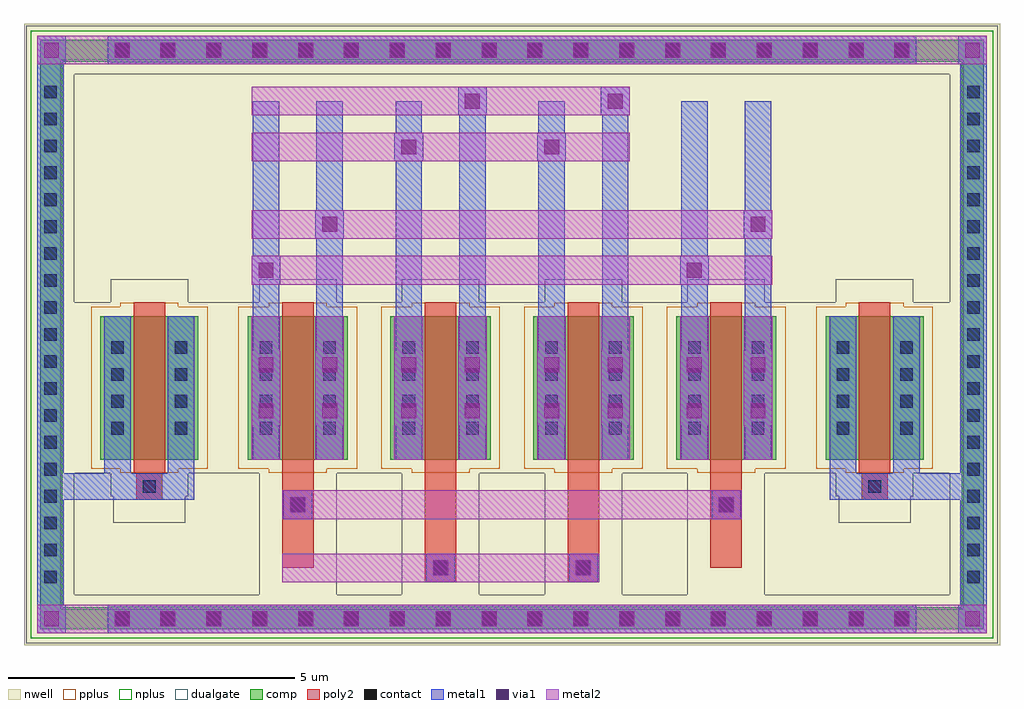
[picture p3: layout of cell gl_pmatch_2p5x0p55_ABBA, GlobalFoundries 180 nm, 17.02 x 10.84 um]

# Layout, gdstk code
import gdstk
lib = gdstk.Library(unit=1e-6, precision=1e-09)
def R(c, l, rs):  # rectangles x0, y0, x1, y1
    for r in rs: c.add(gdstk.rectangle(r[:2], r[2:], *l))
def A(c, l, x, y, w, h, nx, ny, dx, dy):  # array of equal rectangles
    R(c, l, [(x+i*dx, y+j*dy, x+i*dx+w, y+j*dy+h) for i in range(nx) for j in range(ny)])
nwell = (21, 0)
comp = (22, 0)
poly2 = (30, 0)
pplus = (31, 0)
nplus = (32, 0)
contact = (33, 0)
metal1 = (34, 0)
via1 = (35, 0)
metal2 = (36, 0)
dualgate = (55, 0)

gl_pmatch_2p5x0p55_abba = lib.new_cell('gl_pmatch_2p5x0p55_ABBA')
R(gl_pmatch_2p5x0p55_abba, nwell, [(-8.51,-5.42,8.51,5.42)])
A(gl_pmatch_2p5x0p55_abba, comp, -4.61, -2.18, 1.75, 2.5, 4, 1, 2.49, 0)
R(gl_pmatch_2p5x0p55_abba, comp, [(-8.23,-5.14,8.23,-4.78), (-8.23,-4.78,-7.87,4.78), (7.87,-4.78,8.23,4.78), (-7.18,-2.18,-5.47,0.32), (5.47,-2.18,7.18,0.32), (-8.23,4.78,8.23,5.14)])
R(gl_pmatch_2p5x0p55_abba, poly2, [(-1.52,-4.32,-0.97,0.56), (0.97,-4.32,1.52,0.56), (-4.01,-4.07,-3.46,0.56), (3.46,-4.07,4.01,0.56), (-6.555,-2.88,-6.095,-2.42), (6.095,-2.88,6.555,-2.42), (-6.6,-2.42,-6.05,0.56), (6.05,-2.42,6.6,0.56)])
A(gl_pmatch_2p5x0p55_abba, pplus, -4.24, -2.41, 1.01, 0.07, 4, 2, 2.49, 2.89)
A(gl_pmatch_2p5x0p55_abba, pplus, -4.77, -2.34, 2.07, 2.82, 4, 1, 2.49, 0)
R(gl_pmatch_2p5x0p55_abba, pplus, [(-6.83,-2.41,-5.82,-2.34), (5.82,-2.41,6.83,-2.34), (-7.34,-2.34,-5.31,0.48), (5.31,-2.34,7.34,0.48), (-6.83,0.48,-5.82,0.55), (5.82,0.48,6.83,0.55)])
R(gl_pmatch_2p5x0p55_abba, nplus, [(-8.39,-5.3,8.39,-4.76), (-8.39,-4.76,-7.84,4.76), (-7.01,-4.76,7.01,-4.75), (7.84,-4.76,8.39,4.76), (-7.01,4.75,7.01,4.76), (-8.39,4.76,8.39,5.3)])
A(gl_pmatch_2p5x0p55_abba, contact, -6.91, -5.07, 0.22, 0.22, 18, 2, 0.8, 9.92)
A(gl_pmatch_2p5x0p55_abba, contact, -8.16, -4.34, 0.22, 0.22, 1, 19, 0, 0.47)
A(gl_pmatch_2p5x0p55_abba, contact, 7.94, -4.34, 0.22, 0.22, 1, 19, 0, 0.47)
A(gl_pmatch_2p5x0p55_abba, contact, -6.99, -1.745, 0.22, 0.22, 1, 4, 0, 0.47)
A(gl_pmatch_2p5x0p55_abba, contact, -5.88, -1.745, 0.22, 0.22, 1, 4, 0, 0.47)
A(gl_pmatch_2p5x0p55_abba, contact, -4.4, -1.745, 0.22, 0.22, 1, 4, 0, 0.47)
A(gl_pmatch_2p5x0p55_abba, contact, -3.29, -1.745, 0.22, 0.22, 1, 4, 0, 0.47)
A(gl_pmatch_2p5x0p55_abba, contact, -1.91, -1.745, 0.22, 0.22, 1, 4, 0, 0.47)
A(gl_pmatch_2p5x0p55_abba, contact, -0.8, -1.745, 0.22, 0.22, 1, 4, 0, 0.47)
A(gl_pmatch_2p5x0p55_abba, contact, 0.58, -1.745, 0.22, 0.22, 1, 4, 0, 0.47)
A(gl_pmatch_2p5x0p55_abba, contact, 1.69, -1.745, 0.22, 0.22, 1, 4, 0, 0.47)
A(gl_pmatch_2p5x0p55_abba, contact, 3.07, -1.745, 0.22, 0.22, 1, 4, 0, 0.47)
A(gl_pmatch_2p5x0p55_abba, contact, 4.18, -1.745, 0.22, 0.22, 1, 4, 0, 0.47)
A(gl_pmatch_2p5x0p55_abba, contact, 5.66, -1.745, 0.22, 0.22, 1, 4, 0, 0.47)
A(gl_pmatch_2p5x0p55_abba, contact, 6.77, -1.745, 0.22, 0.22, 1, 4, 0, 0.47)
R(gl_pmatch_2p5x0p55_abba, contact, [(-1.355,-4.18,-1.135,-3.96), (1.135,-4.18,1.355,-3.96), (-3.845,-3.08,-3.625,-2.86), (3.625,-3.08,3.845,-2.86), (-6.435,-2.76,-6.215,-2.54), (6.215,-2.76,6.435,-2.54)])
R(gl_pmatch_2p5x0p55_abba, metal1, [(-8.28,-5.21,-7.78,-4.71), (-7.05,-5.21,7.05,-4.71), (7.78,-5.21,8.28,-4.71), (-8.28,-4.71,-7.82,-2.88), (7.82,-4.71,8.28,-2.88), (-1.495,-4.32,-0.995,-3.82), (0.995,-4.32,1.495,-3.82), (-3.985,-3.22,-3.485,-2.72), (3.485,-3.22,3.985,-2.72), (-8.28,-2.88,-5.54,-2.42), (5.54,-2.88,8.28,-2.42), (-8.28,-2.42,-7.82,4.71), (-7.11,-2.42,-6.65,0.32), (-6,-2.42,-5.54,0.32), (5.54,-2.42,6,0.32), (6.65,-2.42,7.11,0.32), (7.82,-2.42,8.28,4.71), (-4.52,-2.18,-4.06,-1.58), (-3.41,-2.18,-2.95,-1.58), (-2.03,-2.18,-1.57,-1.58), (-0.92,-2.18,-0.46,-1.58), (0.46,-2.18,0.92,-1.58), (1.57,-2.18,2.03,-1.58), (2.95,-2.18,3.41,-1.58), (4.06,-2.18,4.52,-1.58), (-4.54,-1.58,-4.04,-0.28), (-3.43,-1.58,-2.93,-0.28), (-2.05,-1.58,-1.55,-0.28), (-0.94,-1.58,-0.44,-0.28), (0.44,-1.58,0.94,-0.28), (1.55,-1.58,2.05,-0.28), (2.93,-1.58,3.43,-0.28), (4.04,-1.58,4.54,-0.28), (-4.52,-0.28,-4.06,0.87), (-3.41,-0.28,-2.95,1.67), (-2.03,-0.28,-1.57,3.02), (-0.92,-0.28,-0.46,3.82), (0.46,-0.28,0.92,3.02), (1.57,-0.28,2.03,3.82), (2.95,-0.28,3.41,0.87), (4.06,-0.28,4.52,1.67), (-4.54,0.87,-4.04,1.37), (2.93,0.87,3.43,1.37), (-4.52,1.37,-4.06,4.07), (2.95,1.37,3.41,4.07), (-3.43,1.67,-2.93,2.17), (4.04,1.67,4.54,2.17), (-3.41,2.17,-2.95,4.07), (4.06,2.17,4.52,4.07), (-2.05,3.02,-1.55,3.52), (0.44,3.02,0.94,3.52), (-2.03,3.52,-1.57,4.07), (0.46,3.52,0.92,4.07), (-0.94,3.82,-0.44,4.32), (1.55,3.82,2.05,4.32), (-8.28,4.71,-7.78,5.21), (-7.05,4.71,7.05,5.21), (7.78,4.71,8.28,5.21)])
A(gl_pmatch_2p5x0p55_abba, via1, -6.93, -5.09, 0.26, 0.26, 18, 2, 0.8, 9.92)
R(gl_pmatch_2p5x0p55_abba, via1, [(-8.16,-5.09,-7.9,-4.83), (7.9,-5.09,8.16,-4.83), (-1.375,-4.2,-1.115,-3.94), (1.115,-4.2,1.375,-3.94), (-3.865,-3.1,-3.605,-2.84), (3.605,-3.1,3.865,-2.84), (-4.42,-1.46,-4.16,-1.2), (-3.31,-1.46,-3.05,-1.2), (-1.93,-1.46,-1.67,-1.2), (-0.82,-1.46,-0.56,-1.2), (0.56,-1.46,0.82,-1.2), (1.67,-1.46,1.93,-1.2), (3.05,-1.46,3.31,-1.2), (4.16,-1.46,4.42,-1.2), (-4.42,-0.66,-4.16,-0.4), (-3.31,-0.66,-3.05,-0.4), (-1.93,-0.66,-1.67,-0.4), (-0.82,-0.66,-0.56,-0.4), (0.56,-0.66,0.82,-0.4), (1.67,-0.66,1.93,-0.4), (3.05,-0.66,3.31,-0.4), (4.16,-0.66,4.42,-0.4), (-4.42,0.99,-4.16,1.25), (3.05,0.99,3.31,1.25), (-3.31,1.79,-3.05,2.05), (4.16,1.79,4.42,2.05), (-1.93,3.14,-1.67,3.4), (0.56,3.14,0.82,3.4), (-0.82,3.94,-0.56,4.2), (1.67,3.94,1.93,4.2), (-8.16,4.83,-7.9,5.09), (7.9,4.83,8.16,5.09)])
R(gl_pmatch_2p5x0p55_abba, metal2, [(-8.28,-5.21,8.28,-4.71), (-4.01,-4.32,1.52,-3.82), (-4.01,-3.22,4.01,-2.72), (-4.54,-2.18,-4.04,0.32), (-3.43,-2.18,-2.93,0.32), (-2.05,-2.18,-1.55,0.32), (-0.94,-2.18,-0.44,0.32), (0.44,-2.18,0.94,0.32), (1.55,-2.18,2.05,0.32), (2.93,-2.18,3.43,0.32), (4.04,-2.18,4.54,0.32), (-4.54,0.87,4.54,1.37), (-4.54,1.67,4.54,2.17), (-4.54,3.02,2.05,3.52), (-4.54,3.82,2.05,4.32), (-8.28,4.71,8.28,5.21)])
A(gl_pmatch_2p5x0p55_abba, dualgate, -4.41, -4.54, 1.35, 2.12, 4, 1, 2.49, 0)
A(gl_pmatch_2p5x0p55_abba, dualgate, -4.41, 0.56, 1.35, 0.4, 4, 1, 2.49, 0)
R(gl_pmatch_2p5x0p55_abba, dualgate, [(-8.47,-5.38,8.47,-4.54), (-8.47,-4.54,-7.63,-2.42), (7.63,-4.54,8.47,-2.42), (-6.955,-3.28,-5.695,-2.82), (5.695,-3.28,6.955,-2.82), (-7,-2.82,-5.65,-2.42), (5.65,-2.82,7,-2.42), (-8.47,-2.42,8.47,0.56), (-8.47,0.56,-7.63,4.54), (-7,0.56,-5.65,0.96), (5.65,0.56,7,0.96), (7.63,0.56,8.47,4.54), (-8.47,4.54,8.47,5.38)])

lib.write_gds('gl_pmatch_2p5x0p55_ABBA.gds')
